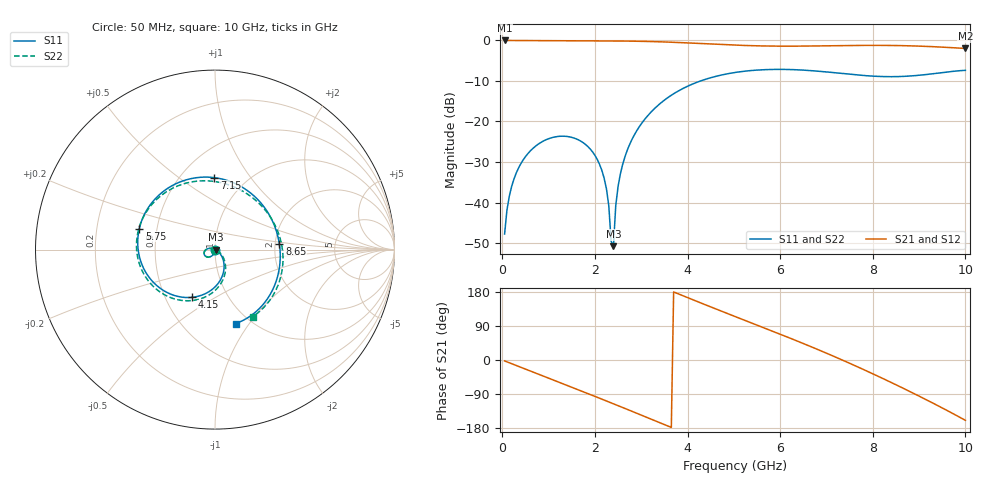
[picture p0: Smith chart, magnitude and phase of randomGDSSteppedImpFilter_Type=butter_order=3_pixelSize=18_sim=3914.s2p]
! freq	dB(S11)	phase(S11)	dB(S12)	phase(S12)
!  dB(S21)	phase(S21)	dB(S22)	phase(S22)
!S-par simulation data
#  GHz  S  DB  R 50
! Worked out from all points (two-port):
!   200 points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, 50 MHz to 10 GHz, reference 50 ohm
!   highest |S21| = 0.00 dB at 50 MHz (marker M1); lowest = -2.0 dB at 10 GHz (marker M2)
!   |S21| within 3 dB of the highest: start of sweep to end of sweep
!   lowest |S11| = -50.8 dB at 2.4 GHz (marker M3), VSWR 1.01, Z = 50.3 - j0.0737 ohm
!   |S11| at or under -10 dB: start of sweep to 4.281 GHz
!   |S22| runs from -49.0 to -7.1 dB; largest |S21 - S12| = 0
!   S11 on the Smith chart (normalised r, x): 50 MHz: 1.00, -0.01; 4.15 GHz: 0.68, -0.39; 5.75 GHz: 0.40, +0.11; 7.15 GHz: 0.72, +0.69; 8.65 GHz: 2.11, +0.16; 10 GHz: 0.86, -0.87
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0.05  -47.76 -91.5  -0.00 -2.4  -0.00 -2.4  -47.77 -91.5
0.2  -36.11 -99.5  -0.02 -9.7  -0.02 -9.7  -36.12 -99.3
0.55  -27.97 -117.3  -0.04 -26.4  -0.04 -26.4  -27.97 -116.8
1.15  -23.79 -146.7  -0.08 -55.1  -0.08 -55.1  -23.80 -145.8
1.75  -25.26 -176.2  -0.11 -83.9  -0.11 -83.9  -25.28 -175.0
2.2  -34.02 160.5  -0.12 -105.7  -0.12 -105.7  -34.08 160.1
2.3  -40.83 153.4  -0.13 -110.6  -0.13 -110.6  -40.91 149.1
2.35  -49.55 140.3  -0.13 -113.1  -0.13 -113.1  -48.96 122.8
2.4  -50.77 -14.7  -0.13 -115.5  -0.13 -115.5  -49.02 5.9
2.5  -36.05 -30.6  -0.14 -120.5  -0.14 -120.5  -35.86 -23.6
2.65  -28.66 -39.3  -0.16 -127.9  -0.16 -127.9  -28.58 -34.3
3.4  -15.65 -78.0  -0.33 -165.4  -0.33 -165.4  -15.62 -73.1
4.15  -10.57 -116.1  -0.69 157.2  -0.69 157.2  -10.55 -109.8
5.05  -7.87 -160.7  -1.17 113.6  -1.17 113.6  -7.85 -151.9
5.75  -7.18 164.6  -1.38 80.2  -1.38 80.2  -7.16 176.3
6.7  -7.48 115.2  -1.37 33.4  -1.37 33.4  -7.48 132.3
7.15  -7.94 90.4  -1.30 10.2  -1.30 10.2  -7.95 110.4
7.75  -8.60 56.4  -1.22 -22.3  -1.22 -22.3  -8.64 79.7
8.35  -8.94 22.1  -1.23 -56.5  -1.23 -56.5  -8.98 46.2
8.65  -8.88 5.2  -1.29 -74.1  -1.29 -74.1  -8.92 28.3
9.3  -8.22 -31.7  -1.54 -113.8  -1.54 -113.8  -8.24 -13.0
10  -7.37 -74.4  -1.97 -159.2  -1.97 -159.2  -7.36 -60.5
